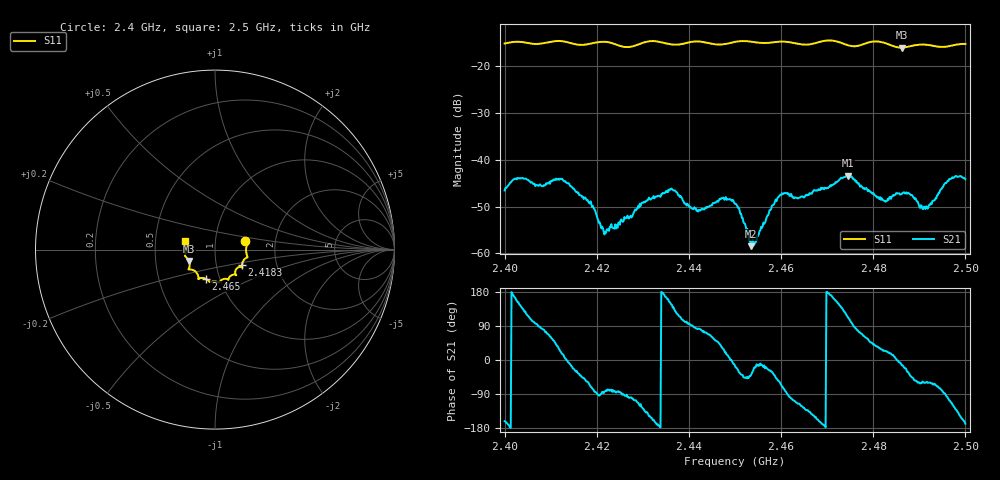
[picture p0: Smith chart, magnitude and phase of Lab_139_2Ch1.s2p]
# Hz S RI R 50
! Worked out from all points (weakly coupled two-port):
!   601 points, 2.4 GHz to 2.5 GHz, reference 50 ohm
!   highest |S21| = -43.35 dB at 2.4745 GHz (marker M1); lowest = -58.5 dB at 2.4535 GHz (marker M2)
!   lowest |S11| = -16.0 dB at 2.4862 GHz (marker M3), VSWR 1.37, Z = 37.1 - j4.82 ohm
!   |S11| at or under -10 dB: start of sweep to end of sweep
!   S12 and S22 are empty: the file has one direction only
!   S11 on the Smith chart (normalised r, x): 2.4 GHz: 1.40, +0.13; 2.4183 GHz: 1.33, -0.24; 2.465 GHz: 0.86, -0.29; 2.5 GHz: 0.71, +0.07
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2.4e9  0.169 0.0458  -0.00447 -0.00149  0 0  0 0
2.402667e9  0.1797 0.0342  -0.00566 0.00251  0 0  0 0
2.408333e9  0.1752 -0.02  0.000811 0.00516  0 0  0 0
2.412e9  0.1814 -0.0422  0.00571 0.00264  0 0  0 0
2.416667e9  0.1549 -0.068  0.00298 -0.00285  0 0  0 0
2.418333e9  0.1501 -0.0865  0.00154 -0.00309  0 0  0 0
2.422e9  0.1523 -0.0998  0.000279 -0.00163  0 0  0 0
2.433333e9  0.1168 -0.1412  -0.00408 -0.000514  0 0  0 0
2.4365e9  0.0946 -0.1418  -0.00356 0.00319  0 0  0 0
2.442167e9  0.0739 -0.1685  0.000365 0.0029  0 0  0 0
2.447e9  0.0435 -0.1652  0.00315 0.00229  0 0  0 0
2.45e9  0.0252 -0.1807  0.00327 -0.000909  0 0  0 0
2.4535e9  0.0166 -0.1824  0.000925 -0.000757  0 0  0 0
2.459667e9  -0.0267 -0.1811  0.00222 -0.0035  0 0  0 0
2.465e9  -0.0526 -0.1621  -0.00233 -0.00318  0 0  0 0
2.466667e9  -0.0711 -0.1577  -0.00345 -0.00264  0 0  0 0
2.4745e9  -0.0983 -0.1361  -0.00261 0.00628  0 0  0 0
2.483333e9  -0.142 -0.0959  0.00352 0.00129  0 0  0 0
2.486167e9  -0.1446 -0.0633  0.00419 -0.00102  0 0  0 0
2.491333e9  -0.167 -0.0318  0.00149 -0.00258  0 0  0 0
2.496667e9  -0.1631 0.0241  -0.00191 -0.00597  0 0  0 0
2.5e9  -0.1666 0.0471  -0.0061 -0.00129  0 0  0 0
